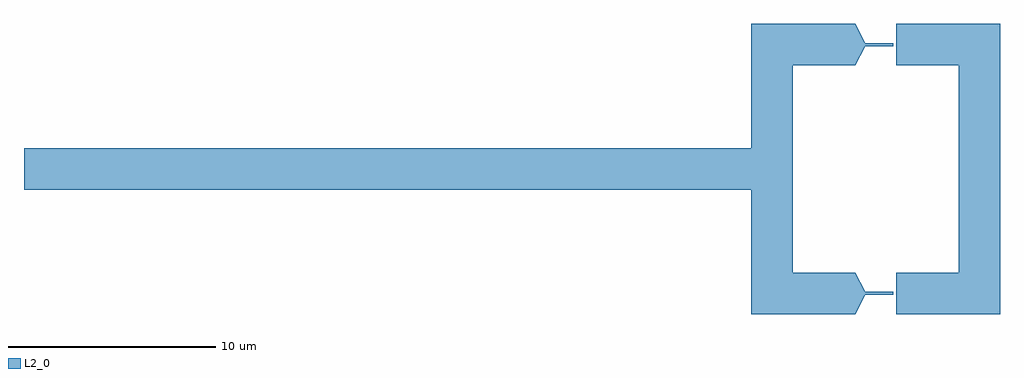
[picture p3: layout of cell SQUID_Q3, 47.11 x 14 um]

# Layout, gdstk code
import gdstk
lib = gdstk.Library(unit=1e-6, precision=1e-09)
def R(c, l, rs):  # rectangles x0, y0, x1, y1
    for r in rs: c.add(gdstk.rectangle(r[:2], r[2:], *l))
def P(c, l, *ps):  # polygons
    for p in ps: c.add(gdstk.Polygon(p, *l))
L2_0 = (2, 0)

squid_q3 = lib.new_cell('SQUID_Q3')
R(squid_q3, L2_0, [(10.554,-7,12.554,7), (12.554,-7,15.559,-5), (17.549,-7,20.554,-5), (20.554,-7,22.554,7), (16.039,-6.068,17.399,-5.932), (-24.554,-1,10.554,1), (12.554,5,15.559,7), (17.549,5,20.554,7), (16.039,5.932,17.399,6.068)])
P(squid_q3, L2_0, [(15.559,-7),(16.039,-6.068),(16.039,-5.932),(15.559,-5)],
  [(15.559,5),(16.039,5.932),(16.039,6.068),(15.559,7)])

lib.write_gds('SQUID_Q3.gds')
